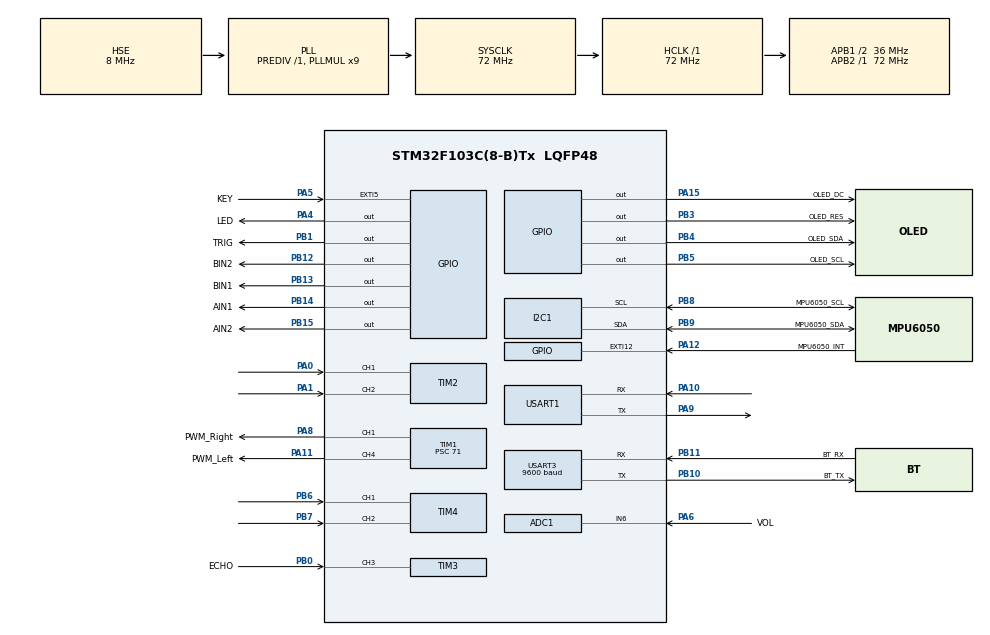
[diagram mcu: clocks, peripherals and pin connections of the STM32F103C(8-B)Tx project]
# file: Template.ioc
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ADC1.Channel-0\#ChannelRegularConversion=ADC_CHANNEL_6
ADC1.NbrOfConversionFlag=1
ADC1.Rank-0\#ChannelRegularConversion=1
ADC1.SamplingTime-0\#ChannelRegularConversion=ADC_SAMPLETIME_1CYCLE_5
ADC1.master=1
I2C1.I2C_Mode=I2C_Fast
Mcu.Family=STM32F1
Mcu.Name=STM32F103C(8-B)Tx
Mcu.Package=LQFP48
NVIC.PriorityGroup=NVIC_PRIORITYGROUP_4
NVIC.TIM3_IRQn=true\:0\:0\:false\:false\:true\:true\:true\:true
PA0-WKUP.Signal=S_TIM2_CH1_ETR
PA1.Signal=S_TIM2_CH2
PA10.Mode=Asynchronous
PA10.Signal=USART1_RX
PA11.GPIO_Label=PWM_Left
PA11.Signal=S_TIM1_CH4
PA12.GPIO_Label=MPU6050_INT
PA12.Signal=GPXTI12
PA13.Mode=Serial_Wire
PA13.Signal=SYS_JTMS-SWDIO
PA14.Mode=Serial_Wire
PA14.Signal=SYS_JTCK-SWCLK
PA15.GPIO_Label=OLED_DC
PA15.Signal=GPIO_Output
PA4.GPIO_Label=LED
PA4.PinState=GPIO_PIN_SET
PA4.Signal=GPIO_Output
PA5.GPIO_Label=KEY
PA5.GPIO_ModeDefaultEXTI=GPIO_MODE_IT_RISING_FALLING
PA5.GPIO_PuPd=GPIO_PULLUP
PA5.Signal=GPXTI5
PA6.GPIO_Label=VOL
PA6.Signal=ADCx_IN6
PA8.GPIO_Label=PWM_Right
PA8.Signal=S_TIM1_CH1
PA9.Mode=Asynchronous
PA9.Signal=USART1_TX
PB0.GPIO_Label=ECHO
PB0.Signal=S_TIM3_CH3
PB1.GPIO_Label=TRIG
PB1.Signal=GPIO_Output
PB10.GPIO_Label=BT_TX
PB10.Mode=Asynchronous
PB10.Signal=USART3_TX
PB11.GPIO_Label=BT_RX
PB11.Mode=Asynchronous
PB11.Signal=USART3_RX
PB12.GPIO_Label=BIN2
PB12.Signal=GPIO_Output
PB13.GPIO_Label=BIN1
PB13.Signal=GPIO_Output
PB14.GPIO_Label=AIN1
PB14.Signal=GPIO_Output
PB15.GPIO_Label=AIN2
PB15.Signal=GPIO_Output
PB3.GPIO_Label=OLED_RES
PB3.Signal=GPIO_Output
PB4.GPIO_Label=OLED_SDA
PB4.Signal=GPIO_Output
PB5.GPIO_Label=OLED_SCL
PB5.Signal=GPIO_Output
PB6.Signal=S_TIM4_CH1
PB7.Signal=S_TIM4_CH2
PB8.GPIO_Label=MPU6050_SCL
PB8.Mode=I2C
PB8.Signal=I2C1_SCL
PB9.GPIO_Label=MPU6050_SDA
PB9.Mode=I2C
PB9.Signal=I2C1_SDA
PD0-OSC_IN.Mode=HSE-External-Oscillator
PD0-OSC_IN.Signal=RCC_OSC_IN
PD1-OSC_OUT.Mode=HSE-External-Oscillator
PD1-OSC_OUT.Signal=RCC_OSC_OUT
ProjectManager.HeapSize=0x200
ProjectManager.StackSize=0x400
ProjectManager.TargetToolchain=Makefile
RCC.ADCPresc=RCC_ADCPCLK2_DIV6
RCC.AHBFreq_Value=72000000
RCC.APB1CLKDivider=RCC_HCLK_DIV2
RCC.APB1Freq_Value=36000000
RCC.APB1TimFreq_Value=72000000
RCC.APB2Freq_Value=72000000
RCC.APB2TimFreq_Value=72000000
RCC.HCLKFreq_Value=72000000
RCC.PLLMUL=RCC_PLL_MUL9
RCC.PLLSourceVirtual=RCC_PLLSOURCE_HSE
RCC.SYSCLKFreq_VALUE=72000000
RCC.SYSCLKSource=RCC_SYSCLKSOURCE_PLLCLK
RCC.USBFreq_Value=72000000
SH.ADCx_IN6.0=ADC1_IN6,IN6
SH.S_TIM1_CH1.0=TIM1_CH1,PWM Generation1 CH1
SH.S_TIM1_CH4.0=TIM1_CH4,PWM Generation4 CH4
SH.S_TIM2_CH1_ETR.0=TIM2_CH1,Encoder_Interface
SH.S_TIM2_CH2.0=TIM2_CH2,Encoder_Interface
SH.S_TIM3_CH3.0=TIM3_CH3,Input_Capture3_from_TI3
SH.S_TIM4_CH1.0=TIM4_CH1,Encoder_Interface
SH.S_TIM4_CH2.0=TIM4_CH2,Encoder_Interface
TIM1.Channel-PWM\ Generation1\ CH1=TIM_CHANNEL_1
TIM1.Channel-PWM\ Generation4\ CH4=TIM_CHANNEL_4
TIM1.Period=7200-1
TIM1.Prescaler=71
TIM1.Pulse-PWM\ Generation1\ CH1=0
TIM1.Pulse-PWM\ Generation4\ CH4=0
TIM2.EncoderMode=TIM_ENCODERMODE_TI12
TIM2.IC2Filter=10
TIM3.Channel-Input_Capture3_from_TI3=TIM_CHANNEL_3
TIM3.ICFilter_CH3=15
TIM3.Prescaler=71
TIM4.EncoderMode=TIM_ENCODERMODE_TI12
TIM4.IC2Filter=10
USART1.VirtualMode=VM_ASYNC
USART3.BaudRate=9600
USART3.VirtualMode=VM_ASYNC
VP_TIM1_VS_ClockSourceINT.Mode=Internal
VP_TIM3_VS_ClockSourceINT.Mode=Internal
board=custom

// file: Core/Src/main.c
/* USER CODE BEGIN Header */
/**
  ******************************************************************************
  * @file           : main.c
  * @brief          : Main program body
  ******************************************************************************
  * @attention
  *
  * Copyright (c) 2024 STMicroelectronics.
  * All rights reserved.
  *
  * This software is licensed under terms that can be found in the LICENSE file
  * in the root directory of this software component.
  * If no LICENSE file comes with this software, it is provided AS-IS.
  *
  ******************************************************************************
  */
/* USER CODE END Header */
#include "main.h"
#include "adc.h"
#include "i2c.h"
#include "tim.h"
#include "usart.h"
#include "gpio.h"

/* USER CODE BEGIN Includes */

#include "test.h"
#include "show.h"
#include "encoder.h"

/* 外设头文件 */

#include "bsp.h"
#include "soft_timer.h"

#include "task.h"

/* USER CODE END Includes */

/* USER CODE BEGIN PD */
#define DATA_MAX 20
/* USER CODE END PD */

/* USER CODE BEGIN PV */

/* ANCHOR - 公共全局变量 */

u8             g_way_angle = 1;               /* 获得欧拉角的方式: 1: DMP 2: 卡尔曼滤波 3: 互补滤波 */
float          g_balance_kp = 650 * 0.6;      /* 直立环 PD 控制器 比例控制系数 */
float          g_balance_kd = 30 * 0.6;       /* 直立环 PD 控制器 微分控制系数 */
float          g_velocity_kp = 220.0;         /* 速度环 PD 控制器 比例控制系数 */
float          g_velocity_ki = 220.0 / 200.0; /* 速度环 PI 控制器 积分控制系数 */
u8             g_flag_stop = 1;               /* 小车停止标志位 */
float          g_voltage;                     /* 电池电压 */
u8             g_flag_avoid;                  /* 小车避障模式标志位 */
u8             g_flag_follow;                 /* 小车跟随模式标志位 */
Hcsr04Info_t   g_hcsr04_info;                 /* 超声波传感器结构体, 内部有测量距离 */
Encoder_Data_t g_encoder_data;                /* 编码器数据 */
Motor_Data_t   g_motor_data;                  /* 电机数据 */
u8             g_key_num;                     /* 0: 无按键, 1: 短按, 2: 长按, 3: 双击 */
u8             g_rx_buf[DATA_MAX];            /* 串口接收缓冲区 */

/* USER CODE END PV */

void SystemClock_Config(void);

int main(void)
{

    /* MCU Configuration--------------------------------------------------------*/

    /* Reset of all peripherals, Initializes the Flash interface and the Systick. */
    HAL_Init();

    /* Configure the system clock */
    SystemClock_Config();

    /* Initialize all configured peripherals */
    MX_GPIO_Init();
    MX_USART1_UART_Init();
    MX_TIM3_Init();
    MX_I2C1_Init();
    MX_ADC1_Init();
    MX_TIM2_Init();
    MX_TIM4_Init();
    MX_TIM1_Init();
    MX_USART3_UART_Init();
    /* USER CODE BEGIN 2 */
    SoftTimer_Init(); /* 需要在外设初始化之前运行, 因为有的外设初始化需要软件定时器 */
    BSP_Init();

    SoftTimer_Start(0, 5, SOFT_TIMER_MODE_PERIODIC, "Data Collect"); /* 5ms 一个周期 */
    SoftTimer_Start(1, 200, SOFT_TIMER_MODE_PERIODIC, "Data Show");  /* 200ms 一个周期 */
    SoftTimer_Start(2, 10, SOFT_TIMER_MODE_PERIODIC, "PID Control"); /* 10ms 一个周期 */
    // HAL_UARTEx_ReceiveToIdle_IT(&huart1, g_rx_buf, DATA_MAX);
    // HAL_UARTEx_ReceiveToIdle_IT(&huart3, g_rx_buf, DATA_MAX);
    u64 cnt_start, cnt_end;
    /* USER CODE END 2 */

    /* Infinite loop */
    /* USER CODE BEGIN WHILE */
    while (1)
    {
        // Test_USART1();
        // Test_LED();
        // Test_SoftTimer();
        // Test_Key();
        // Test_HCSR04();
        // Test_OLED();
        // Test_MPU6050();
        // Test_ADC();
        // while (1)
        // {
        //     g_voltage = ADC_Get_Battery_Volt();
        //     OLED_Show();
        //     HAL_Delay(100);
        // }
        // Test_Motor();

        if (SoftTimer_Check(0))
        {
            // cnt_start = Systick_GetTick();
            Task_Data_Collect();
            Task_Encoder_Control();
            Task_Key_Control();
            if (g_key_num == 2)
            {
                LED_Flash(500, 2);
            }
            // cnt_end = Systick_GetTick();
            // printf("cnt = %d\r\n", (int)(cnt_end - cnt_start));
            // printf("gyrox = %f, gyroy = %f, gyroz = %f\r\n", g_gyro_x, g_gyro_y, g_gyro_z);
            // printf("accx = %f, accy = %f, accz = %f\r\n", g_acc_x, g_acc_y, g_acc_z);
            // printf("pitch = %f, roll = %f, yaw = %f\r\n", g_pitch, g_roll, g_yaw);
        }
        if (SoftTimer_Check(1))
        {
            cnt_start = Systick_GetTick();
            Task_Data_Show();
            cnt_end = Systick_GetTick();
            printf("cnt = %d\r\n", (int)(cnt_end - cnt_start));
        }
        if (SoftTimer_Check(2))
        {
            // cnt_start = Systick_GetTick();
            Task_Pid_Control();
            // cnt_end = Systick_GetTick();
            // printf("cnt = %d\r\n", (int)(cnt_end - cnt_start));
        }
        // cnt_end = Systick_GetTick();
        // printf("cnt = %d\r\n", (int)(cnt_end - cnt_start));

        /* USER CODE END WHILE */

    }
}

void SystemClock_Config(void)
{
    RCC_OscInitTypeDef       RCC_OscInitStruct = {0};
    RCC_ClkInitTypeDef       RCC_ClkInitStruct = {0};
    RCC_PeriphCLKInitTypeDef PeriphClkInit = {0};

    /** Initializes the RCC Oscillators according to the specified parameters
  * in the RCC_OscInitTypeDef structure.
  */
    RCC_OscInitStruct.OscillatorType = RCC_OSCILLATORTYPE_HSE;
    RCC_OscInitStruct.HSEState = RCC_HSE_ON;
    RCC_OscInitStruct.HSEPredivValue = RCC_HSE_PREDIV_DIV1;
    RCC_OscInitStruct.HSIState = RCC_HSI_ON;
    RCC_OscInitStruct.PLL.PLLState = RCC_PLL_ON;
    RCC_OscInitStruct.PLL.PLLSource = RCC_PLLSOURCE_HSE;
    RCC_OscInitStruct.PLL.PLLMUL = RCC_PLL_MUL9;
    if (HAL_RCC_OscConfig(&RCC_OscInitStruct) != HAL_OK)
    {
        Error_Handler();
    }

    /** Initializes the CPU, AHB and APB buses clocks
  */
    RCC_ClkInitStruct.ClockType = RCC_CLOCKTYPE_HCLK | RCC_CLOCKTYPE_SYSCLK | RCC_CLOCKTYPE_PCLK1 | RCC_CLOCKTYPE_PCLK2;
    RCC_ClkInitStruct.SYSCLKSource = RCC_SYSCLKSOURCE_PLLCLK;
    RCC_ClkInitStruct.AHBCLKDivider = RCC_SYSCLK_DIV1;
    RCC_ClkInitStruct.APB1CLKDivider = RCC_HCLK_DIV2;
    RCC_ClkInitStruct.APB2CLKDivider = RCC_HCLK_DIV1;

    if (HAL_RCC_ClockConfig(&RCC_ClkInitStruct, FLASH_LATENCY_2) != HAL_OK)
    {
        Error_Handler();
    }
    PeriphClkInit.PeriphClockSelection = RCC_PERIPHCLK_ADC;
    PeriphClkInit.AdcClockSelection = RCC_ADCPCLK2_DIV6;
    if (HAL_RCCEx_PeriphCLKConfig(&PeriphClkInit) != HAL_OK)
    {
        Error_Handler();
    }
}

void Error_Handler(void)
{
    __disable_irq();
    while (1)
    {
    }
}
